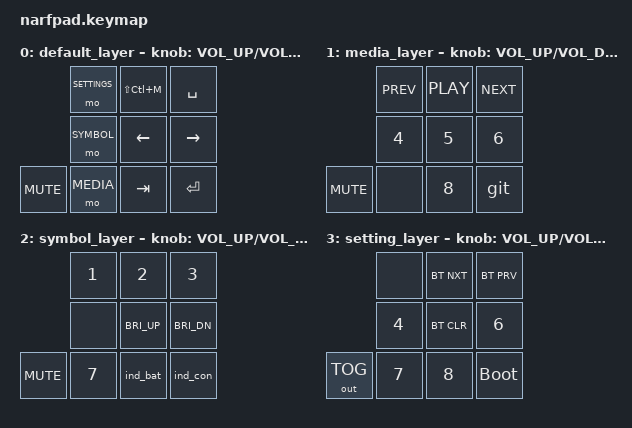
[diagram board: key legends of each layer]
#include <behaviors.dtsi>
#include <dt-bindings/zmk/keys.h>
#include <dt-bindings/zmk/outputs.h>
#include <dt-bindings/zmk/bt.h>
#include <behaviors/rgbled_widget.dtsi>  // needed to use the rgblight behaviours


// Layer definitions
    #define BASE 0
    #define MEDIA 1
    #define SYMBOL 2
	#define SETTINGS 3
//    #define ONEHAND 4

&mt {
    flavor = "tap-preferred";
    tapping_term_ms = <210>;
    quick_tap_ms = <0>;
	retro-tap;
};

/ {
    macros {
        git: git {
            compatible = "zmk,behavior-macro";
            #binding-cells = <0>;
            bindings
                = <&macro_press &none>
                , <&macro_tap &kp G &kp I &kp T &kp SPACE>
                , <&macro_release &none>
                ;
        };
    };
};



/ {
    keymap {
        compatible = "zmk,keymap";


        default_layer {
// -----------------------------------------------------------
//        |  -bt   |  teams mute |  Space |
//        |  -symb |    5        |    6   |  
//  Mute  |  -set  |    8        |    9   | 
            bindings = <
              &mo SETTINGS  &kp LS(LC(M))  &kp SPACE  
              &mo SYMBOL    &kp LEFT    &kp RIGHT
&kp C_MUTE   &mo MEDIA     &kp TAB     &kp RET
            >;

            sensor-bindings = <&inc_dec_kp C_VOLUME_UP C_VOLUME_DOWN>;
        };

        media_layer {
// -----------------------------------------------------------
//        |  prev   |    play  |  next  |
//        |    4    |    5     |    6   |  
//  Mute  |    7  n |    8     | "git " | 
            bindings = <
            &kp C_PREV  &kp C_PLAY  &kp C_NEXT 
            &kp N4      &kp N5      &kp N6
&kp K_MUTE  &none       &kp N8      &git
            >;

            sensor-bindings = <&inc_dec_kp C_VOLUME_UP C_VOLUME_DOWN>;
        };

        symbol_layer {
// -----------------------------------------------------------
//        |    1   |    2   |    3   |
//        |    4   |    5   |    6   |  
//    0   |    7   |    8   |    9   | 
            bindings = <
            &kp N1   &kp N2         &kp N3 
            &none    &kp C_BRI_UP   &kp C_BRI_DN
&kp C_MUTE &kp N7    &ind_bat       &ind_con
            >;

            sensor-bindings = <&inc_dec_kp C_VOLUME_UP C_VOLUME_DOWN>;
        };

        setting_layer {
// -----------------------------------------------------------
//        |    1   |    2   |    3   |
//        |    4   |    5   |    6   |  
//    0   |    7   |    8   |    9   | 
            bindings = <
            &none    &bt BT_NXT	  &bt BT_PRV 
            &kp N4   &bt BT_CLR   &kp N6
&out OUT_TOG &kp N7   &kp N8       &bootloader
            >;

            sensor-bindings = <&inc_dec_kp C_VOLUME_UP C_VOLUME_DOWN>;
        };


    };
};
